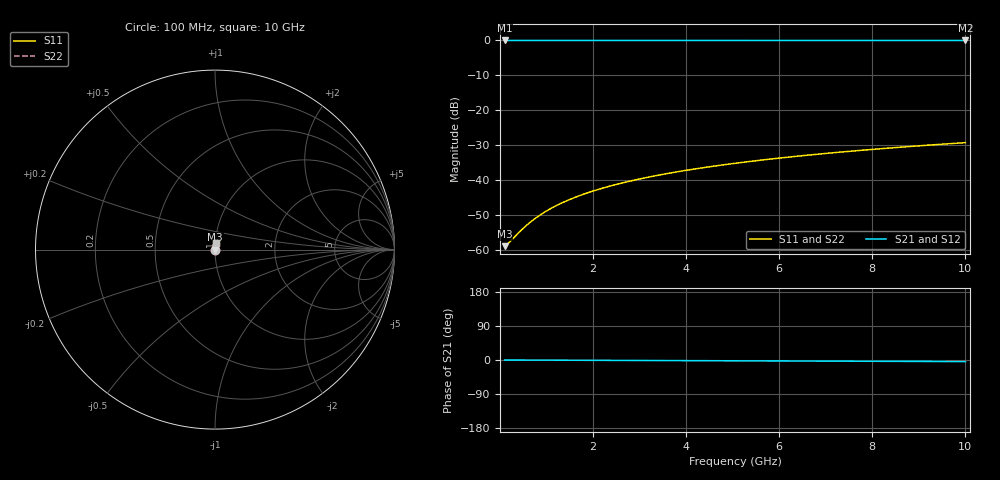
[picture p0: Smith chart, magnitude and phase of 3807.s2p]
# Hz S RI R 50.00
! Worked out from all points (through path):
!   100 points, 100 MHz to 10 GHz, reference 50 ohm
!   highest |S21| = -0.01 dB at 100 MHz (marker M1); lowest = 0.0 dB at 10 GHz (marker M2)
!   lowest |S11| = -59.0 dB at 100 MHz (marker M3), VSWR 1.00, Z = 50.1 + j0.0343 ohm
!   |S11| at or under -10 dB: start of sweep to end of sweep
!   |S22| runs from -59.0 to -29.3 dB; largest |S21 - S12| = 0
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1e8  0.00107 0.000342  0.9989 -0.000734  0.9989 -0.000734  0.00107 0.000342
2e8  0.00108 0.000684  0.9989 -0.00147  0.9989 -0.00147  0.00108 0.000684
4e8  0.00109 0.00137  0.9989 -0.00294  0.9989 -0.00294  0.00109 0.00137
5e8  0.0011 0.00171  0.9989 -0.00367  0.9989 -0.00367  0.0011 0.00171
6e8  0.00111 0.00205  0.9989 -0.0044  0.9989 -0.0044  0.00111 0.00205
7e8  0.00111 0.00239  0.9989 -0.00514  0.9989 -0.00514  0.00111 0.00239
9e8  0.00113 0.00308  0.9989 -0.00661  0.9989 -0.00661  0.00113 0.00308
1.1e9  0.00114 0.00376  0.9988 -0.00807  0.9988 -0.00807  0.00114 0.00376
1.3e9  0.00116 0.00445  0.9988 -0.00954  0.9988 -0.00954  0.00116 0.00445
1.5e9  0.00117 0.00513  0.9988 -0.011  0.9988 -0.011  0.00117 0.00513
1.8e9  0.0012 0.00616  0.9988 -0.0132  0.9988 -0.0132  0.0012 0.00616
2.1e9  0.00124 0.00718  0.9987 -0.0154  0.9987 -0.0154  0.00124 0.00718
2.5e9  0.00129 0.00855  0.9987 -0.0184  0.9987 -0.0184  0.00129 0.00855
2.9e9  0.00135 0.00992  0.9986 -0.0213  0.9986 -0.0213  0.00135 0.00992
3.4e9  0.00143 0.0116  0.9985 -0.025  0.9985 -0.025  0.00143 0.0116
4.2e9  0.00159 0.0144  0.9983 -0.0308  0.9983 -0.0308  0.00159 0.0144
5.1e9  0.00181 0.0174  0.998 -0.0374  0.998 -0.0374  0.00181 0.0174
5.9e9  0.00204 0.0202  0.9977 -0.0433  0.9977 -0.0433  0.00204 0.0202
6.7e9  0.0023 0.0229  0.9973 -0.0492  0.9973 -0.0492  0.0023 0.0229
7.5e9  0.00259 0.0256  0.9969 -0.0551  0.9969 -0.0551  0.00259 0.0256
8.4e9  0.00296 0.0287  0.9965 -0.0617  0.9965 -0.0617  0.00296 0.0287
1e10  0.00372 0.0341  0.9955 -0.0734  0.9955 -0.0734  0.00372 0.0341
